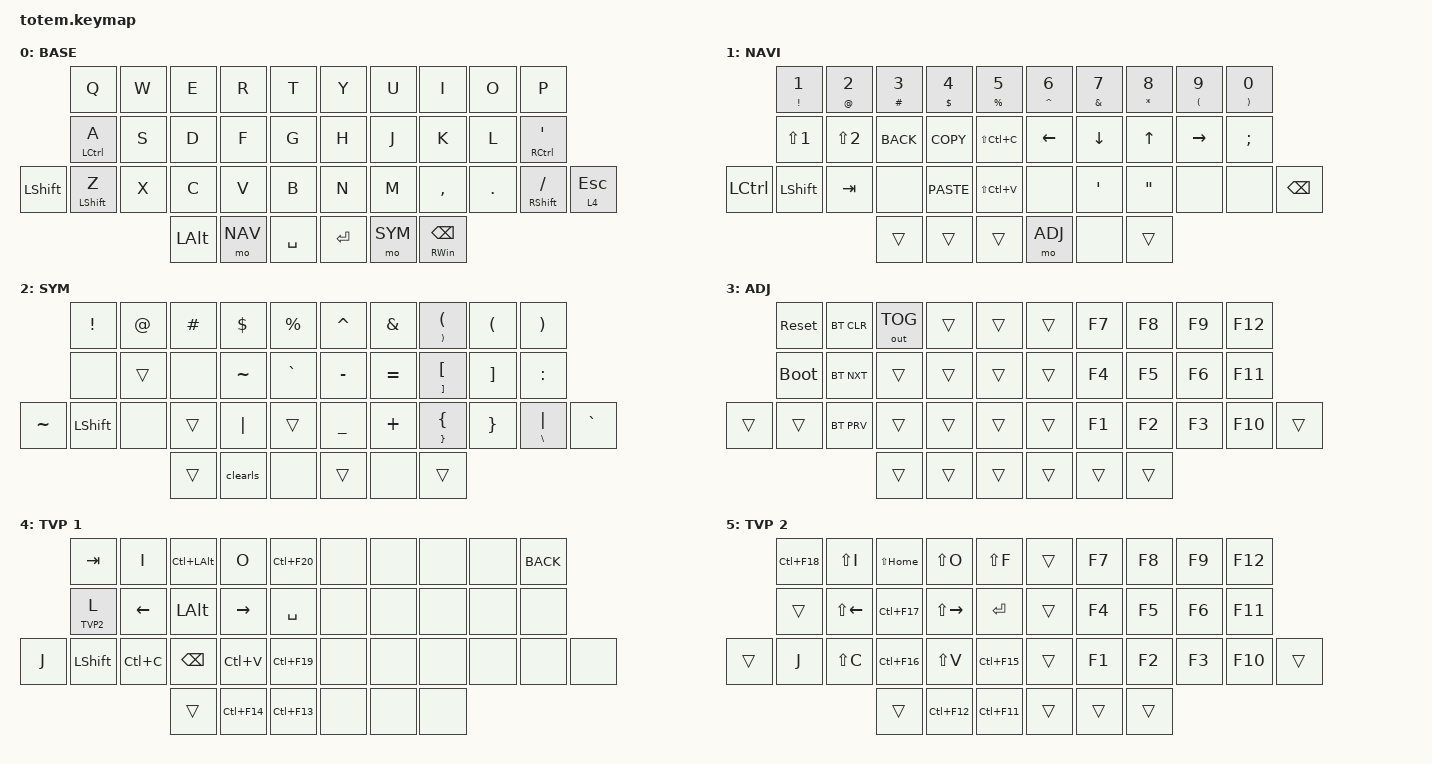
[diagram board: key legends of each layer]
//
//                                                        ▀▀▀▀▀     ▀▀▀▀▀          ▀▀█▀▀
//                                                        ▄▀▀▀▄  ▄  ▄▀▀▀▄  ▄  ▄▀▀▀▄  █  ▄▀▀▀▄
//                                                        █   █  █  █   █  █  █   █  █  █   █
//                                                         ▀▀▀   █   ▀▀▀   █   ▀▀▀   ▀   ▀▀▀
//                                                               █      ▄▄▄█▄▄▄    █   █  
//                                                               ▀      █  █  █     █▄█
//                                                             ▀▀▀▀▀    █  █  █      ▀
//                                                                      ▀  ▀  ▀
//
// ▄▄▄▄▄▄▄▄▄▄▄▄▄▄▄▄▄▄▄▄▄▄▄▄▄▄▄▄▄▄▄▄▄▄▄▄▄▄▄▄▄▄▄▄▄▄▄▄▄▄▄▄▄▄▄▄▄▄▄▄▄▄▄▄▄▄▄▄▄▄▄▄▄▄▄▄▄▄▄▄▄▄▄▄▄▄▄▄▄▄▄▄▄▄▄▄▄▄▄▄▄▄▄▄▄▄▄▄▄▄▄▄▄▄▄▄▄▄▄▄▄▄▄▄▄▄▄▄▄▄▄▄▄▄▄▄▄▄▄▄▄▄▄▄▄▄▄▄▄

#include <behaviors.dtsi>
#include <dt-bindings/zmk/bt.h>
#include <dt-bindings/zmk/keys.h>
#include <dt-bindings/zmk/outputs.h>

#define BASE 0
#define NAV  1
#define SYM  2
#define ADJ  3
#define TVP1 4
#define TVP2 5

&mt {
    quick-tap-ms = <100>;
    global-quick-tap;
    flavor = "tap-preferred";
    tapping-term-ms = <170>;
};

/ {
    combos {
        compatible = "zmk,combos";

        combo_esc {
            timeout-ms = <50>;
            key-positions = <14 15>;
            bindings = <&kp CAPSLOCK>;
        };

        delete {
            bindings = <&kp DEL>;
            key-positions = <29 28>;
        };

        back {
            bindings = <&kp BACKSPACE>;
            key-positions = <17 18>;
        };

        ctrlback {
            bindings = <&kp LC(BACKSPACE)>;
            key-positions = <16 17 18>;
        };

        ctrldel {
            bindings = <&kp LC(DEL)>;
            key-positions = <27 28 29>;
        };
    };

    macros {
        clearls: p {
            compatible = "zmk,behavior-macro";
            #binding-cells = <0>;
            bindings =
                <&macro_press>,
                <&kp C &kp L &kp E &kp A &kp R>,
                <&macro_press>,
                <&kp SEMI &kp L &kp S>,
                <&macro_press>,
                <&kp RET>;

            label = "P";
        };
    };

    keymap {
        compatible = "zmk,keymap";

        // ▄▄▄▄▄▄▄▄▄▄▄▄▄▄▄▄▄▄▄▄▄▄▄▄▄▄▄▄▄▄▄▄▄▄▄▄▄▄▄▄▄▄▄▄▄▄▄▄▄▄▄▄▄▄▄▄▄▄▄▄▄▄▄▄▄▄▄▄▄▄▄▄▄▄▄▄▄▄▄▄▄▄▄▄▄▄▄▄▄▄▄▄▄▄▄▄▄▄▄▄▄▄▄▄▄▄▄▄▄▄▄▄▄▄▄▄▄▄▄▄▄▄▄▄▄▄▄▄▄▄▄▄▄▄▄▄▄▄▄▄▄▄▄▄▄▄▄▄▄

        base_layer {
            // ┏━━━━━━━━━━━━━━━━━━━━━━━━━━━━━━━━━━━━━━━┓

            label = "BASE";

            // ┗━━━━━━━━━━━━━━━━━━━━━━━━━━━━━━━━━━━━━━━┛
            //             ┏━━━━━━━━━━━┳━━━━━━━━━━━┳━━━━━━━━━━━┳━━━━━━━━━━━┳━━━━━━━━━━━┓   ┏━━━━━━━━━━━┳━━━━━━━━━━━┳━━━━━━━━━━━┳━━━━━━━━━━━┳━━━━━━━━━━━┓
            //             ┃     Q     ┃     W     ┃     F     ┃     P     ┃     G     ┃   ┃     J     ┃     L     ┃     U     ┃     Y     ┃     ;     ┃
            //             ┣━━━━━━━━━━━╋━━━━━━━━━━━╋━━━━━━━━━━━╋━━━━━━━━━━━╋━━━━━━━━━━━┫   ┣━━━━━━━━━━━╋━━━━━━━━━━━╋━━━━━━━━━━━╋━━━━━━━━━━━╋━━━━━━━━━━━┫
            //             ┃     A     ┃     R     ┃     S     ┃     T     ┃     D     ┃   ┃     H     ┃     N     ┃     E     ┃     I     ┃     O     ┃
            // ┏━━━━━━━━━━━╋━━━━━━━━━━━╋━━━━━━━━━━━╋━━━━━━━━━━━╋━━━━━━━━━━━╋━━━━━━━━━━━┫   ┣━━━━━━━━━━━╋━━━━━━━━━━━╋━━━━━━━━━━━╋━━━━━━━━━━━╋━━━━━━━━━━━╋━━━━━━━━━━━┓
            // ┃     Q     ┃     Z     ┃     X     ┃     C     ┃     V     ┃     B     ┃   ┃     K     ┃     M     ┃     ,     ┃     .     ┃     /     ┃     \     ┃
            // ┗━━━━━━━━━━━┻━━━━━━━━━━━┻━━━━━━━━━━━╋━━━━━━━━━━━╋━━━━━━━━━━━╋━━━━━━━━━━━┫   ┣━━━━━━━━━━━╋━━━━━━━━━━━╋━━━━━━━━━━━╋━━━━━━━━━━━┻━━━━━━━━━━━┻━━━━━━━━━━━┛
            //                                     ┃    DEL    ┃    TAB    ┃    SPC    ┃   ┃   ENTER   ┃           ┃   BSPC    ┃
            //                                     ┗━━━━━━━━━━━┻━━━━━━━━━━━┻━━━━━━━━━━━┛   ┗━━━━━━━━━━━┻━━━━━━━━━━━┻━━━━━━━━━━━┛

            bindings = <
                &kp Q             &kp W  &kp E         &kp R    &kp T        &kp Y    &kp U    &kp I                    &kp O    &kp P
                &mt LCTRL A       &kp S  &kp D         &kp F    &kp G        &kp H    &kp J    &kp K                    &kp L    &mt RCTRL SQT
&kp LEFT_SHIFT  &mt LEFT_SHIFT Z  &kp X  &kp C         &kp V    &kp B        &kp N    &kp M    &kp COMMA                &kp DOT  &mt RIGHT_SHIFT SLASH  &lt 4 ESC
                                         &kp LEFT_ALT  &mo NAV  &kp SPACE    &kp RET  &mo SYM  &mt RIGHT_WIN BACKSPACE
            >;
        };

        // ▄▄▄▄▄▄▄▄▄▄▄▄▄▄▄▄▄▄▄▄▄▄▄▄▄▄▄▄▄▄▄▄▄▄▄▄▄▄▄▄▄▄▄▄▄▄▄▄▄▄▄▄▄▄▄▄▄▄▄▄▄▄▄▄▄▄▄▄▄▄▄▄▄▄▄▄▄▄▄▄▄▄▄▄▄▄▄▄▄▄▄▄▄▄▄▄▄▄▄▄▄▄▄▄▄▄▄▄▄▄▄▄▄▄▄▄▄▄▄▄▄▄▄▄▄▄▄▄▄▄▄▄▄▄▄▄▄▄▄▄▄▄▄▄▄▄▄▄▄

        nav_layer {
            // ┏━━━━━━━━━━━━━━━━━━━━━━━━━━━━━━━━━━━━━━━┓

            label = "NAVI";

            // ┗━━━━━━━━━━━━━━━━━━━━━━━━━━━━━━━━━━━━━━━┛
            //             ┏━━━━━━━━━━━┳━━━━━━━━━━━┳━━━━━━━━━━━┳━━━━━━━━━━━┳━━━━━━━━━━━┓   ┏━━━━━━━━━━━┳━━━━━━━━━━━┳━━━━━━━━━━━┳━━━━━━━━━━━┳━━━━━━━━━━━┓
            //             ┃           ┃           ┃     UP    ┃           ┃     {     ┃   ┃     }     ┃     7     ┃     8     ┃     9     ┃     +     ┃
            //             ┣━━━━━━━━━━━╋━━━━━━━━━━━╋━━━━━━━━━━━╋━━━━━━━━━━━╋━━━━━━━━━━━┫   ┣━━━━━━━━━━━╋━━━━━━━━━━━╋━━━━━━━━━━━╋━━━━━━━━━━━╋━━━━━━━━━━━┫
            //             ┃   SHIFT   ┃   LEFT    ┃    DOWN   ┃   RIGHT   ┃     [     ┃   ┃     ]     ┃     4     ┃     5     ┃     6     ┃     -     ┃
            // ┏━━━━━━━━━━━╋━━━━━━━━━━━╋━━━━━━━━━━━╋━━━━━━━━━━━╋━━━━━━━━━━━╋━━━━━━━━━━━┫   ┣━━━━━━━━━━━╋━━━━━━━━━━━╋━━━━━━━━━━━╋━━━━━━━━━━━╋━━━━━━━━━━━╋━━━━━━━━━━━┓
            // ┃           ┃           ┃   P UP    ┃  C LOCK   ┃  P DOWN   ┃     (     ┃   ┃     )     ┃     1     ┃     2     ┃     3     ┃     *     ┃           ┃
            // ┗━━━━━━━━━━━┻━━━━━━━━━━━┻━━━━━━━━━━━╋━━━━━━━━━━━╋━━━━━━━━━━━╋━━━━━━━━━━━┫   ┣━━━━━━━━━━━╋━━━━━━━━━━━╋━━━━━━━━━━━╋━━━━━━━━━━━┻━━━━━━━━━━━┻━━━━━━━━━━━┛
            //                                     ┃           ┃    TAB    ┃    SPC    ┃   ┃    DEL    ┃     0     ┃           ┃
            //                                     ┗━━━━━━━━━━━┻━━━━━━━━━━━┻━━━━━━━━━━━┛   ┗━━━━━━━━━━━┻━━━━━━━━━━━┻━━━━━━━━━━━┛

            bindings = <
           &mt EXCLAMATION NUMBER_1  &mt AT_SIGN NUMBER_2  &mt HASH NUMBER_3  &mt DOLLAR NUMBER_4  &mt PERCENT N5    &mt CARET NUMBER_6  &mt AMPERSAND N7  &mt ASTERISK N8    &mt LEFT_PARENTHESIS N9  &mt RIGHT_PARENTHESIS N0
           &kp LS(NUMBER_1)          &kp LS(NUMBER_2)      &kp K_BACK         &kp K_COPY           &kp LS(LC(C))     &kp LEFT_ARROW      &kp DOWN          &kp UP             &kp RIGHT                &kp SEMICOLON
&kp LCTRL  &kp LEFT_SHIFT            &kp TAB               &none              &kp K_PASTE          &kp LS(LC(V))     &none               &kp SINGLE_QUOTE  &kp DOUBLE_QUOTES  &none                    &none                     &kp BACKSPACE
                                                           &trans             &trans               &trans            &mo ADJ             &none             &trans
            >;
        };

        // ▄▄▄▄▄▄▄▄▄▄▄▄▄▄▄▄▄▄▄▄▄▄▄▄▄▄▄▄▄▄▄▄▄▄▄▄▄▄▄▄▄▄▄▄▄▄▄▄▄▄▄▄▄▄▄▄▄▄▄▄▄▄▄▄▄▄▄▄▄▄▄▄▄▄▄▄▄▄▄▄▄▄▄▄▄▄▄▄▄▄▄▄▄▄▄▄▄▄▄▄▄▄▄▄▄▄▄▄▄▄▄▄▄▄▄▄▄▄▄▄▄▄▄▄▄▄▄▄▄▄▄▄▄▄▄▄▄▄▄▄▄▄▄▄▄▄▄▄▄

        sim_layer {
            // ┏━━━━━━━━━━━━━━━━━━━━━━━━━━━━━━━━━━━━━━━┓

            label = "SYM";

            // ┗━━━━━━━━━━━━━━━━━━━━━━━━━━━━━━━━━━━━━━━┛
            //             ┏━━━━━━━━━━━┳━━━━━━━━━━━┳━━━━━━━━━━━┳━━━━━━━━━━━┳━━━━━━━━━━━┓   ┏━━━━━━━━━━━┳━━━━━━━━━━━┳━━━━━━━━━━━┳━━━━━━━━━━━┳━━━━━━━━━━━┓
            //             ┃     !     ┃     @     ┃     #     ┃     $     ┃     %     ┃   ┃     ˆ     ┃     &     ┃     Ü     ┃     '     ┃     "     ┃
            //             ┣━━━━━━━━━━━╋━━━━━━━━━━━╋━━━━━━━━━━━╋━━━━━━━━━━━╋━━━━━━━━━━━┫   ┣━━━━━━━━━━━╋━━━━━━━━━━━╋━━━━━━━━━━━╋━━━━━━━━━━━╋━━━━━━━━━━━┫
            //             ┃     Ä     ┃           ┃    SZ     ┃           ┃           ┃   ┃   MUTE    ┃   YEN     ┃   EURO    ┃  POUND    ┃     Ö     ┃
            // ┏━━━━━━━━━━━╋━━━━━━━━━━━╋━━━━━━━━━━━╋━━━━━━━━━━━╋━━━━━━━━━━━╋━━━━━━━━━━━┫   ┣━━━━━━━━━━━╋━━━━━━━━━━━╋━━━━━━━━━━━╋━━━━━━━━━━━╋━━━━━━━━━━━╋━━━━━━━━━━━┓
            // ┃           ┃  EMAIL1   ┃  EMAIL2   ┃           ┃           ┃           ┃   ┃   VOL-    ┃   VOL+    ┃   LAST    ┃   NEXT    ┃     \     ┃           ┃
            // ┗━━━━━━━━━━━┻━━━━━━━━━━━┻━━━━━━━━━━━╋━━━━━━━━━━━╋━━━━━━━━━━━╋━━━━━━━━━━━┫   ┣━━━━━━━━━━━╋━━━━━━━━━━━╋━━━━━━━━━━━╋━━━━━━━━━━━┻━━━━━━━━━━━┻━━━━━━━━━━━┛
            //                                     ┃           ┃    GIF    ┃    ADJ    ┃   ┃           ┃           ┃           ┃
            //                                     ┗━━━━━━━━━━━┻━━━━━━━━━━━┻━━━━━━━━━━━┛   ┗━━━━━━━━━━━┻━━━━━━━━━━━┻━━━━━━━━━━━┛

            bindings = <
           &kp EXCL        &kp AT  &kp HASH  &kp DLLR   &kp PRCNT    &kp CARET       &kp AMPS   &mt RIGHT_PARENTHESIS LEFT_PARENTHESIS  &kp LEFT_PARENTHESIS  &kp RIGHT_PARENTHESIS
           &none           &trans  &none     &kp TILDE  &kp GRAVE    &kp MINUS       &kp EQUAL  &mt RIGHT_BRACKET LEFT_BRACKET          &kp RIGHT_BRACKET     &kp COLON
&kp TILDE  &kp LEFT_SHIFT  &none   &trans    &kp PIPE   &trans       &kp UNDERSCORE  &kp PLUS   &mt RIGHT_BRACE LEFT_BRACE              &kp RIGHT_BRACE       &mt BACKSLASH PIPE     &kp GRAVE
                                   &trans    &clearls   &none        &trans          &none      &trans
            >;
        };

        // ▄▄▄▄▄▄▄▄▄▄▄▄▄▄▄▄▄▄▄▄▄▄▄▄▄▄▄▄▄▄▄▄▄▄▄▄▄▄▄▄▄▄▄▄▄▄▄▄▄▄▄▄▄▄▄▄▄▄▄▄▄▄▄▄▄▄▄▄▄▄▄▄▄▄▄▄▄▄▄▄▄▄▄▄▄▄▄▄▄▄▄▄▄▄▄▄▄▄▄▄▄▄▄▄▄▄▄▄▄▄▄▄▄▄▄▄▄▄▄▄▄▄▄▄▄▄▄▄▄▄▄▄▄▄▄▄▄▄▄▄▄▄▄▄▄▄▄▄▄

        adjust_layer {
            // ┏━━━━━━━━━━━━━━━━━━━━━━━━━━━━━━━━━━━━━━━┓

            label = "ADJ";

            // ┗━━━━━━━━━━━━━━━━━━━━━━━━━━━━━━━━━━━━━━━┛
            //             ┏━━━━━━━━━━━┳━━━━━━━━━━━┳━━━━━━━━━━━┳━━━━━━━━━━━┳━━━━━━━━━━━┓   ┏━━━━━━━━━━━┳━━━━━━━━━━━┳━━━━━━━━━━━┳━━━━━━━━━━━┳━━━━━━━━━━━┓
            //             ┃   RESET   ┃ BT CLEAR  ┃  OUT TOG  ┃           ┃           ┃   ┃           ┃    F7     ┃    F8     ┃    F9     ┃    F12    ┃
            //             ┣━━━━━━━━━━━╋━━━━━━━━━━━╋━━━━━━━━━━━╋━━━━━━━━━━━╋━━━━━━━━━━━┫   ┣━━━━━━━━━━━╋━━━━━━━━━━━╋━━━━━━━━━━━╋━━━━━━━━━━━╋━━━━━━━━━━━┫
            //             ┃ BOOTLOAD  ┃ BT NEXT   ┃           ┃           ┃           ┃   ┃           ┃    F4     ┃    F5     ┃    F6     ┃    F11    ┃
            // ┏━━━━━━━━━━━╋━━━━━━━━━━━╋━━━━━━━━━━━╋━━━━━━━━━━━╋━━━━━━━━━━━╋━━━━━━━━━━━┫   ┣━━━━━━━━━━━╋━━━━━━━━━━━╋━━━━━━━━━━━╋━━━━━━━━━━━╋━━━━━━━━━━━╋━━━━━━━━━━━┓
            // ┃           ┃           ┃ BT PREV   ┃           ┃           ┃           ┃   ┃           ┃    F1     ┃    F2     ┃    F3     ┃    F10    ┃           ┃
            // ┗━━━━━━━━━━━┻━━━━━━━━━━━┻━━━━━━━━━━━╋━━━━━━━━━━━╋━━━━━━━━━━━╋━━━━━━━━━━━┫   ┣━━━━━━━━━━━╋━━━━━━━━━━━╋━━━━━━━━━━━╋━━━━━━━━━━━┻━━━━━━━━━━━┻━━━━━━━━━━━┛
            //                                     ┃           ┃           ┃           ┃   ┃           ┃           ┃           ┃
            //                                     ┗━━━━━━━━━━━┻━━━━━━━━━━━┻━━━━━━━━━━━┛   ┗━━━━━━━━━━━┻━━━━━━━━━━━┻━━━━━━━━━━━┛

            bindings = <
        &sys_reset   &bt BT_CLR  &out OUT_TOG  &trans  &trans    &trans  &kp F7  &kp F8  &kp F9  &kp F12
        &bootloader  &bt BT_NXT  &trans        &trans  &trans    &trans  &kp F4  &kp F5  &kp F6  &kp F11
&trans  &trans       &bt BT_PRV  &trans        &trans  &trans    &trans  &kp F1  &kp F2  &kp F3  &kp F10  &trans
                                 &trans        &trans  &trans    &trans  &trans  &trans
            >;
        };

        // ▄▄▄▄▄▄▄▄▄▄▄▄▄▄▄▄▄▄▄▄▄▄▄▄▄▄▄▄▄▄▄▄▄▄▄▄▄▄▄▄▄▄▄▄▄▄▄▄▄▄▄▄▄▄▄▄▄▄▄▄▄▄▄▄▄▄▄▄▄▄▄▄▄▄▄▄▄▄▄▄▄▄▄▄▄▄▄▄▄▄▄▄▄▄▄▄▄▄▄▄▄▄▄▄▄▄▄▄▄▄▄▄▄▄▄▄▄▄▄▄▄▄▄▄▄▄▄▄▄▄▄▄▄▄▄▄▄▄▄▄▄▄▄▄▄▄▄▄▄

        tvp1_layer {
            // ┏━━━━━━━━━━━━━━━━━━━━━━━━━━━━━━━━━━━━━━━┓

            label = "TVP 1";

            // ┗━━━━━━━━━━━━━━━━━━━━━━━━━━━━━━━━━━━━━━━┛
            //             ┏━━━━━━━━━━━┳━━━━━━━━━━━┳━━━━━━━━━━━┳━━━━━━━━━━━┳━━━━━━━━━━━┓   ┏━━━━━━━━━━━┳━━━━━━━━━━━┳━━━━━━━━━━━┳━━━━━━━━━━━┳━━━━━━━━━━━┓
            //             ┃ NEXT FILE ┃ MARK IN   ┃ ROTATE    ┃ MARK OUT  ┃ SHOW SNAP ┃   ┃           ┃           ┃           ┃           ┃           ┃
            //             ┣━━━━━━━━━━━╋━━━━━━━━━━━╋━━━━━━━━━━━╋━━━━━━━━━━━╋━━━━━━━━━━━┫   ┣━━━━━━━━━━━╋━━━━━━━━━━━╋━━━━━━━━━━━╋━━━━━━━━━━━╋━━━━━━━━━━━┫
            //             ┃ TVP II    ┃ LEFT      ┃ PAN       ┃ RIGHT     ┃ PLAY/FLIP ┃   ┃           ┃           ┃           ┃           ┃           ┃
            // ┏━━━━━━━━━━━╋━━━━━━━━━━━╋━━━━━━━━━━━╋━━━━━━━━━━━╋━━━━━━━━━━━╋━━━━━━━━━━━┫   ┣━━━━━━━━━━━╋━━━━━━━━━━━╋━━━━━━━━━━━╋━━━━━━━━━━━╋━━━━━━━━━━━╋━━━━━━━━━━━┓
            // ┃ FULLSCR   ┃ SHIFT     ┃ COPY      ┃ DELETE    ┃ PASTE     ┃ IMG MARK  ┃   ┃           ┃           ┃           ┃           ┃           ┃           ┃
            // ┗━━━━━━━━━━━┻━━━━━━━━━━━┻━━━━━━━━━━━╋━━━━━━━━━━━╋━━━━━━━━━━━╋━━━━━━━━━━━┫   ┣━━━━━━━━━━━╋━━━━━━━━━━━╋━━━━━━━━━━━╋━━━━━━━━━━━┻━━━━━━━━━━━┻━━━━━━━━━━━┛
            //                                     ┃           ┃ UNDO/SAVE ┃  SEL/MOV  ┃   ┃           ┃           ┃           ┃
            //                                     ┗━━━━━━━━━━━┻━━━━━━━━━━━┻━━━━━━━━━━━┛   ┗━━━━━━━━━━━┻━━━━━━━━━━━┻━━━━━━━━━━━┛

            bindings = <
       &kp TAB     &kp I      &kp LC(LALT)  &kp O        &kp LC(F20)    &none  &none  &none  &none  &kp K_BACK
       &lt TVP2 L  &kp LEFT   &kp LALT      &kp RIGHT    &kp SPACE      &none  &none  &none  &none  &none
&kp J  &kp LSHFT   &kp LC(C)  &kp BSPC      &kp LC(V)    &kp LC(F19)    &none  &none  &none  &none  &none       &none
                              &trans        &kp LC(F14)  &kp LC(F13)    &none  &none  &none
            >;
        };

        // ▄▄▄▄▄▄▄▄▄▄▄▄▄▄▄▄▄▄▄▄▄▄▄▄▄▄▄▄▄▄▄▄▄▄▄▄▄▄▄▄▄▄▄▄▄▄▄▄▄▄▄▄▄▄▄▄▄▄▄▄▄▄▄▄▄▄▄▄▄▄▄▄▄▄▄▄▄▄▄▄▄▄▄▄▄▄▄▄▄▄▄▄▄▄▄▄▄▄▄▄▄▄▄▄▄▄▄▄▄▄▄▄▄▄▄▄▄▄▄▄▄▄▄▄▄▄▄▄▄▄▄▄▄▄▄▄▄▄▄▄▄▄▄▄▄▄▄▄▄

        tvp2_layer {
            // ┏━━━━━━━━━━━━━━━━━━━━━━━━━━━━━━━━━━━━━━━┓

            label = "TVP 2";

            // ┗━━━━━━━━━━━━━━━━━━━━━━━━━━━━━━━━━━━━━━━┛
            //             ┏━━━━━━━━━━━┳━━━━━━━━━━━┳━━━━━━━━━━━┳━━━━━━━━━━━┳━━━━━━━━━━━┓   ┏━━━━━━━━━━━┳━━━━━━━━━━━┳━━━━━━━━━━━┳━━━━━━━━━━━┳━━━━━━━━━━━┓
            //             ┃ SOLO      ┃ TOGGLE IN ┃ RESET ROT ┃ TOGGLE OUT┃ TAKE SNAP ┃   ┃           ┃           ┃           ┃           ┃           ┃
            //             ┣━━━━━━━━━━━╋━━━━━━━━━━━╋━━━━━━━━━━━╋━━━━━━━━━━━╋━━━━━━━━━━━┫   ┣━━━━━━━━━━━╋━━━━━━━━━━━╋━━━━━━━━━━━╋━━━━━━━━━━━╋━━━━━━━━━━━┫
            //             ┃ ---       ┃ LAST KEY  ┃ NEW KEY   ┃ NEXT KEY  ┃ ENTER     ┃   ┃           ┃           ┃           ┃           ┃           ┃
            // ┏━━━━━━━━━━━╋━━━━━━━━━━━╋━━━━━━━━━━━╋━━━━━━━━━━━╋━━━━━━━━━━━╋━━━━━━━━━━━┫   ┣━━━━━━━━━━━╋━━━━━━━━━━━╋━━━━━━━━━━━╋━━━━━━━━━━━╋━━━━━━━━━━━╋━━━━━━━━━━━┓
            // ┃           ┃ FULLSCR   ┃ CPY2BRUSH ┃ DEL HEAD  ┃ PSTinPLACE┃ BOOK MARK ┃   ┃           ┃           ┃           ┃           ┃           ┃           ┃
            // ┗━━━━━━━━━━━┻━━━━━━━━━━━┻━━━━━━━━━━━╋━━━━━━━━━━━╋━━━━━━━━━━━╋━━━━━━━━━━━┫   ┣━━━━━━━━━━━╋━━━━━━━━━━━╋━━━━━━━━━━━╋━━━━━━━━━━━┻━━━━━━━━━━━┻━━━━━━━━━━━┛
            //                                     ┃           ┃ REDO/SAV1 ┃TRANS/WARP ┃   ┃           ┃           ┃           ┃
            //                                     ┗━━━━━━━━━━━┻━━━━━━━━━━━┻━━━━━━━━━━━┛   ┗━━━━━━━━━━━┻━━━━━━━━━━━┻━━━━━━━━━━━┛

            bindings = <
        &kp LC(F18)  &kp LS(I)     &kp LS(HOME)  &kp LS(O)      &kp LS(F)      &trans  &kp F7  &kp F8  &kp F9  &kp F12
        &trans       &kp LS(LEFT)  &kp LC(F17)   &kp LS(RIGHT)  &kp RET        &trans  &kp F4  &kp F5  &kp F6  &kp F11
&trans  &kp J        &kp LS(C)     &kp LC(F16)   &kp LS(V)      &kp LC(F15)    &trans  &kp F1  &kp F2  &kp F3  &kp F10  &trans
                                   &trans        &kp LC(F12)    &kp LC(F11)    &trans  &trans  &trans
            >;
        };
    };
};
